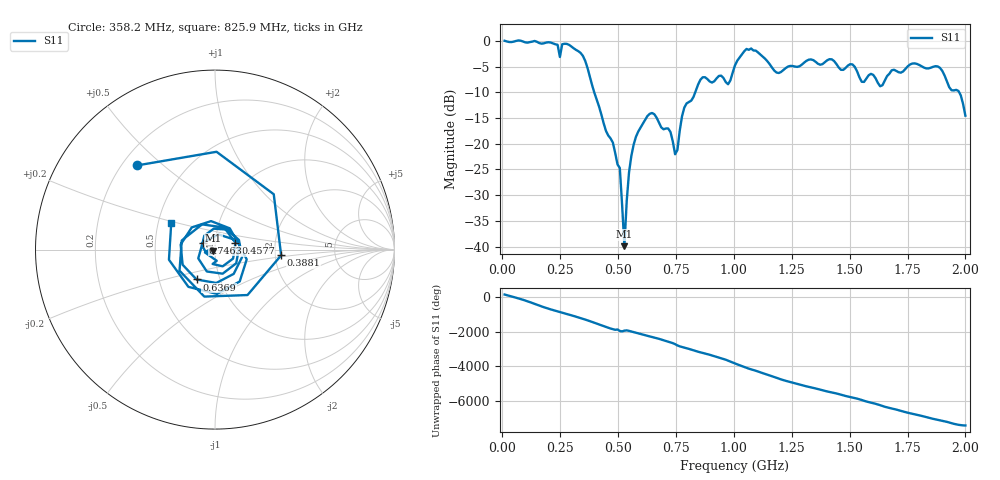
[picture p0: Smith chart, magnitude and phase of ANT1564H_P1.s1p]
!Created with skrf (http://scikit-rf.org).
# Hz S RI R 50.0
!freq ReS11 ImS11
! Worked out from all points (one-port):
!   201 points, 10 MHz to 2 GHz, reference 50 ohm
!   lowest |S11| = -39.9 dB at 527.4 MHz (marker M1), VSWR 1.02, Z = 49.1 - j0.518 ohm
!   |S11| at or under -10 dB: 397.2 MHz to 833.3 MHz (436.1 MHz wide, 70.9 % of centre); 1.973 GHz to end of sweep
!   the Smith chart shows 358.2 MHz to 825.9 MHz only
!   S11 on the Smith chart (normalised r, x): 358.2 MHz: 0.26, +0.41; 388.1 MHz: 2.16, -0.16; 457.8 MHz: 1.25, +0.10; 636.9 MHz: 0.77, -0.27; 746.3 MHz: 0.87, +0.07; 825.9 MHz: 0.59, +0.19
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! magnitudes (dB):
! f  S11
! 10 MHz  0.0
! 209 MHz  -0.3
! 248.8 MHz  -3.1
! 258.8 MHz  -0.6
! 358.2 MHz  -3.9
! 388.1 MHz  -8.6
! 457.8 MHz  -18.4
! 507.5 MHz  -24.7
! 527.4 MHz  -39.9
! 537.4 MHz  -31.1
! 557.2 MHz  -22.4
! 636.9 MHz  -14.2
! 726.4 MHz  -17.7
! 746.3 MHz  -22.0
! 756.2 MHz  -21.2
! 786.1 MHz  -13.0
! 825.9 MHz  -10.9
! 865.7 MHz  -7.1
! 975.1 MHz  -8.4
! 1.005 GHz  -4.7
! 1.075 GHz  -1.5
! 1.184 GHz  -6.1
! 1.254 GHz  -4.9
! 1.502 GHz  -4.5
! 1.632 GHz  -8.8
! 1.751 GHz  -4.9
! 1.891 GHz  -5.2
! 2 GHz  -14.5
